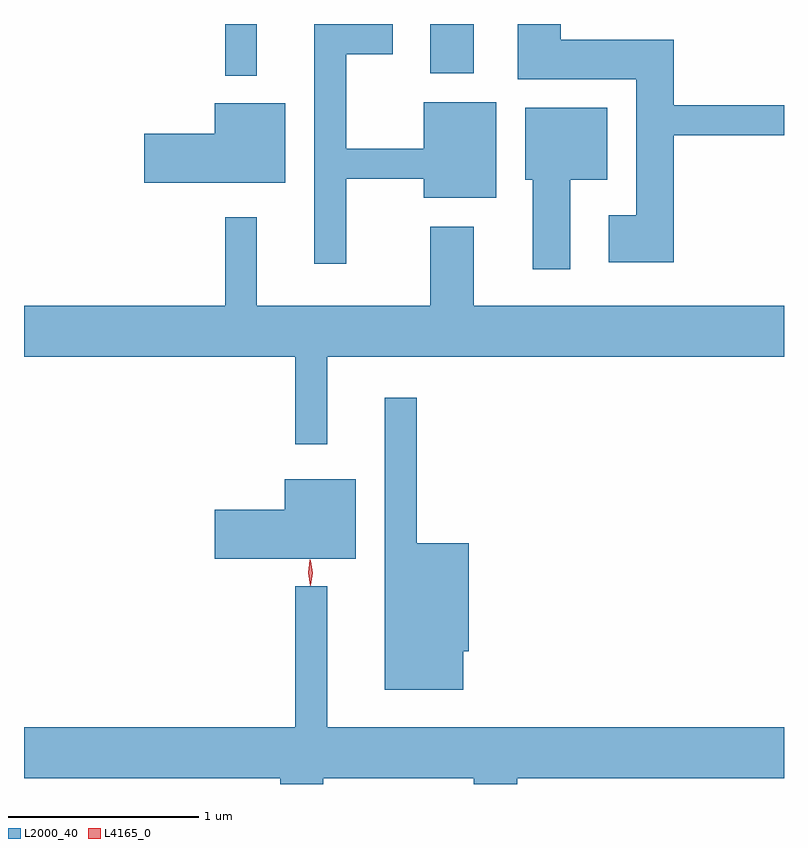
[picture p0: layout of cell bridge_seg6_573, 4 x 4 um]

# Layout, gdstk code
import gdstk
lib = gdstk.Library(unit=1e-6, precision=1e-09)
def R(c, l, rs):  # rectangles x0, y0, x1, y1
    for r in rs: c.add(gdstk.rectangle(r[:2], r[2:], *l))
def P(c, l, *ps):  # polygons
    for p in ps: c.add(gdstk.Polygon(p, *l))
L2000_40 = (2000, 40)
L4165_0 = (4165, 0)

bridge_seg6_573 = lib.new_cell('bridge_seg6_573')
R(bridge_seg6_573, L2000_40, [(465.471,1602.573,465.639,1602.846), (466.551,1602.586,466.779,1602.846)])
P(bridge_seg6_573, L2000_40, [(466.109,1602.031),(466.516,1602.031),(466.516,1601.931),(466.899,1601.931),(466.899,1602.434),(466.516,1602.434),(466.516,1602.189),(466.109,1602.189),(466.109,1602.686),(466.354,1602.686),(466.354,1602.846),(465.941,1602.846),(465.941,1601.583),(466.109,1601.583)],
  [(467.834,1602.261),(468.413,1602.261),(468.413,1602.419),(467.834,1602.419),(467.834,1602.764),(467.239,1602.764),(467.239,1602.846),(467.011,1602.846),(467.011,1602.556),(467.636,1602.556),(467.636,1601.839),(467.491,1601.839),(467.491,1601.591),(467.834,1601.591)],
  [(465.789,1602.429),(465.416,1602.429),(465.416,1602.269),(465.046,1602.269),(465.046,1602.011),(465.789,1602.011)],
  [(467.289,1602.026),(467.484,1602.026),(467.484,1602.404),(467.051,1602.404),(467.051,1602.026),(467.091,1602.026),(467.091,1601.556),(467.289,1601.556)],
  [(466.009,1601.096),(468.413,1601.096),(468.413,1601.364),(466.779,1601.364),(466.779,1601.779),(466.551,1601.779),(466.551,1601.364),(465.639,1601.364),(465.639,1601.828),(465.471,1601.828),(465.471,1601.364),(464.413,1601.364),(464.413,1601.096),(465.841,1601.096),(465.841,1600.633),(466.009,1600.633)],
  [(466.724,1599.546),(466.754,1599.546),(466.754,1600.114),(466.479,1600.114),(466.479,1600.878),(466.311,1600.878),(466.311,1599.341),(466.724,1599.341)],
  [(466.159,1600.449),(465.786,1600.449),(465.786,1600.289),(465.416,1600.289),(465.416,1600.031),(466.159,1600.031)],
  [(465.989,1598.876),(466.781,1598.876),(466.781,1598.846),(467.009,1598.846),(467.009,1598.876),(468.413,1598.876),(468.413,1599.144),(466.009,1599.144),(466.009,1599.888),(465.841,1599.888),(465.841,1599.144),(464.413,1599.144),(464.413,1598.876),(465.761,1598.876),(465.761,1598.846),(465.989,1598.846)])
P(bridge_seg6_573, L4165_0, [(465.919,1599.89),(465.91,1599.958),(465.918,1600.025),(465.919,1600.026),(465.92,1600.025),(465.929,1599.958),(465.92,1599.89),(465.92,1599.89)],
  [(465.922,1599.893),(465.922,1599.894),(465.912,1599.956),(465.922,1600.02),(465.922,1600.02),(465.923,1600.02),(465.932,1599.956),(465.923,1599.894)])

lib.write_gds('bridge_seg6_573.gds')
